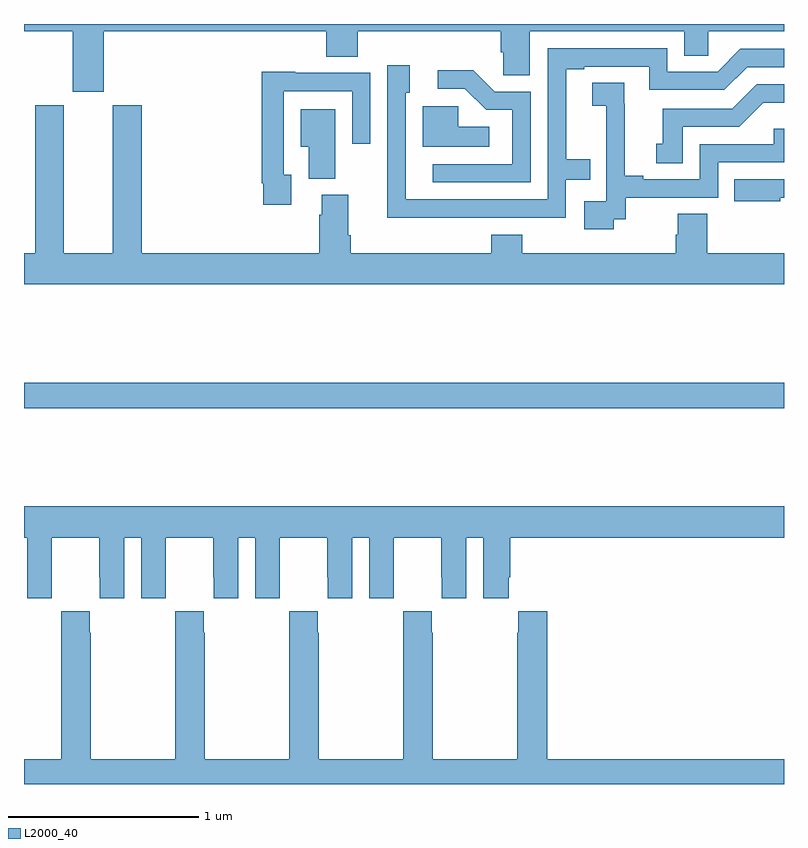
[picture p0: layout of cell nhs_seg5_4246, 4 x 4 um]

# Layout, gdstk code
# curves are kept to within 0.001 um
import gdstk
lib = gdstk.Library(unit=1e-6, precision=1e-09)
def R(c, l, rs):  # rectangles x0, y0, x1, y1
    for r in rs: c.add(gdstk.rectangle(r[:2], r[2:], *l))
def P(c, l, *ps):  # polygons
    for p in ps: c.add(gdstk.Polygon(p, *l))
L2000_40 = (2000, 40)

nhs_seg5_4246 = lib.new_cell('nhs_seg5_4246')
R(nhs_seg5_4246, L2000_40, [(361,854.776,365,854.912)])
P(nhs_seg5_4246, L2000_40, [(361.42,856.76),(362.591,856.76),(362.591,856.627),(362.756,856.627),(362.756,856.76),(363.509,856.76),(363.509,856.651),(363.522,856.651),(363.522,856.528),(363.661,856.528),(363.661,856.76),(364.475,856.76),(364.475,856.633),(364.602,856.633),(364.602,856.76),(365,856.76),(365,856.799),(361,856.799),(361,856.76),(361.256,856.76),(361.256,856.443),(361.42,856.443)],
  [(363.374,855.78),(363.852,855.78),(363.852,855.978),(363.98,855.978),(363.98,856.087),(363.853,856.087),(363.853,856.56),(363.949,856.56),(363.949,856.575),(364.29,856.575),(364.29,856.452),(364.686,856.452),(364.806,856.572),(365,856.572),(365,856.668),(364.77,856.668),(364.65,856.548),(364.386,856.548),(364.386,856.671),(363.756,856.671),(363.756,855.876),(363.009,855.876),(363.009,856.437),(363.031,856.437),(363.031,856.582),(362.913,856.582),(362.912,855.779)],
  [(363.666,856.443),(363.477,856.443),(363.364,856.556),(363.177,856.556),(363.177,856.458),(363.321,856.458),(363.432,856.347),(363.57,856.347),(363.57,856.062),(363.15,856.062),(363.15,855.966),(363.666,855.966)],
  [(362.407,856.005),(362.367,856.005),(362.367,856.446),(362.727,856.446),(362.727,856.17),(362.823,856.17),(362.823,856.542),(362.427,856.542),(362.427,856.549),(362.251,856.549),(362.251,855.961),(362.259,855.961),(362.259,855.849),(362.407,855.849)],
  [(364.104,855.771),(364.166,855.771),(364.166,855.885),(364.653,855.885),(364.653,856.071),(365,856.071),(365,856.249),(364.947,856.249),(364.947,856.167),(364.557,856.167),(364.557,855.981),(364.258,855.981),(364.258,856.001),(364.162,856.001),(364.162,856.379),(364.16,856.379),(364.16,856.49),(363.99,856.49),(363.99,856.369),(364.064,856.369),(364.064,856.171),(364.065,856.171),(364.065,855.867),(363.948,855.867),(363.948,855.72),(364.104,855.72)],
  [(364.468,856.257),(364.764,856.257),(364.892,856.385),(365,856.385),(365,856.482),(364.857,856.482),(364.728,856.353),(364.361,856.353),(364.361,856.17),(364.328,856.17),(364.328,856.066),(364.468,856.066)],
  [(365,855.592),(364.595,855.592),(364.595,855.8),(364.442,855.8),(364.442,855.69),(364.43,855.69),(364.43,855.592),(363.623,855.592),(363.623,855.691),(363.458,855.691),(363.458,855.592),(362.72,855.592),(362.72,855.688),(362.707,855.688),(362.707,855.9),(362.567,855.9),(362.567,855.794),(362.555,855.794),(362.555,855.592),(361.619,855.592),(361.619,856.371),(361.466,856.371),(361.466,855.592),(361.21,855.592),(361.21,856.371),(361.058,856.371),(361.058,855.592),(361,855.592),(361,855.428),(365,855.428)],
  [(363.448,856.258),(363.285,856.258),(363.285,856.365),(363.098,856.365),(363.098,856.154),(363.448,856.154)],
  [(362.638,856.351),(362.456,856.351),(362.456,856.154),(362.498,856.154),(362.498,855.985),(362.638,855.985)],
  [(364.981,855.885),(365,855.885),(365,855.981),(364.738,855.981),(364.738,855.866),(364.981,855.866)],
  [(361,854.096),(361.016,854.096),(361.016,853.776),(361.146,853.776),(361.146,853.888),(361.147,853.888),(361.147,854.096),(361.397,854.096),(361.397,853.888),(361.398,853.888),(361.398,853.776),(361.528,853.776),(361.528,854.096),(361.616,854.096),(361.616,853.776),(361.746,853.776),(361.746,853.888),(361.747,853.888),(361.747,854.096),(361.997,854.096),(361.997,853.888),(361.998,853.888),(361.998,853.776),(362.128,853.776),(362.128,854.096),(362.216,854.096),(362.216,853.776),(362.346,853.776),(362.346,853.888),(362.347,853.888),(362.347,854.096),(362.597,854.096),(362.597,853.888),(362.598,853.888),(362.598,853.776),(362.728,853.776),(362.728,854.096),(362.816,854.096),(362.816,853.776),(362.946,853.776),(362.946,853.888),(362.947,853.888),(362.947,854.096),(363.197,854.096),(363.197,853.888),(363.198,853.888),(363.198,853.776),(363.328,853.776),(363.328,854.096),(363.416,854.096),(363.416,853.776),(363.55,853.776),(363.55,853.888),(363.56,853.888),(363.56,854.096),(365,854.096),(365,854.26),(361,854.26)],
  [(365,852.928),(363.755,852.928),(363.755,853.708),(363.601,853.708),(363.601,853.595),(363.595,853.595),(363.595,852.928),(363.15,852.928),(363.15,853.595),(363.147,853.595),(363.147,853.708),(362.997,853.708),(362.997,853.595),(362.995,853.595),(362.995,852.928),(362.55,852.928),(362.55,853.595),(362.547,853.595),(362.547,853.708),(362.397,853.708),(362.397,853.595),(362.395,853.595),(362.395,852.928),(361.95,852.928),(361.95,853.595),(361.947,853.595),(361.947,853.708),(361.797,853.708),(361.797,853.595),(361.795,853.595),(361.795,852.928),(361.35,852.928),(361.35,853.595),(361.347,853.595),(361.347,853.708),(361.197,853.708),(361.197,853.595),(361.195,853.595),(361.195,852.928),(361,852.928),(361,852.799),(365,852.799)])

lib.write_gds('nhs_seg5_4246.gds')
